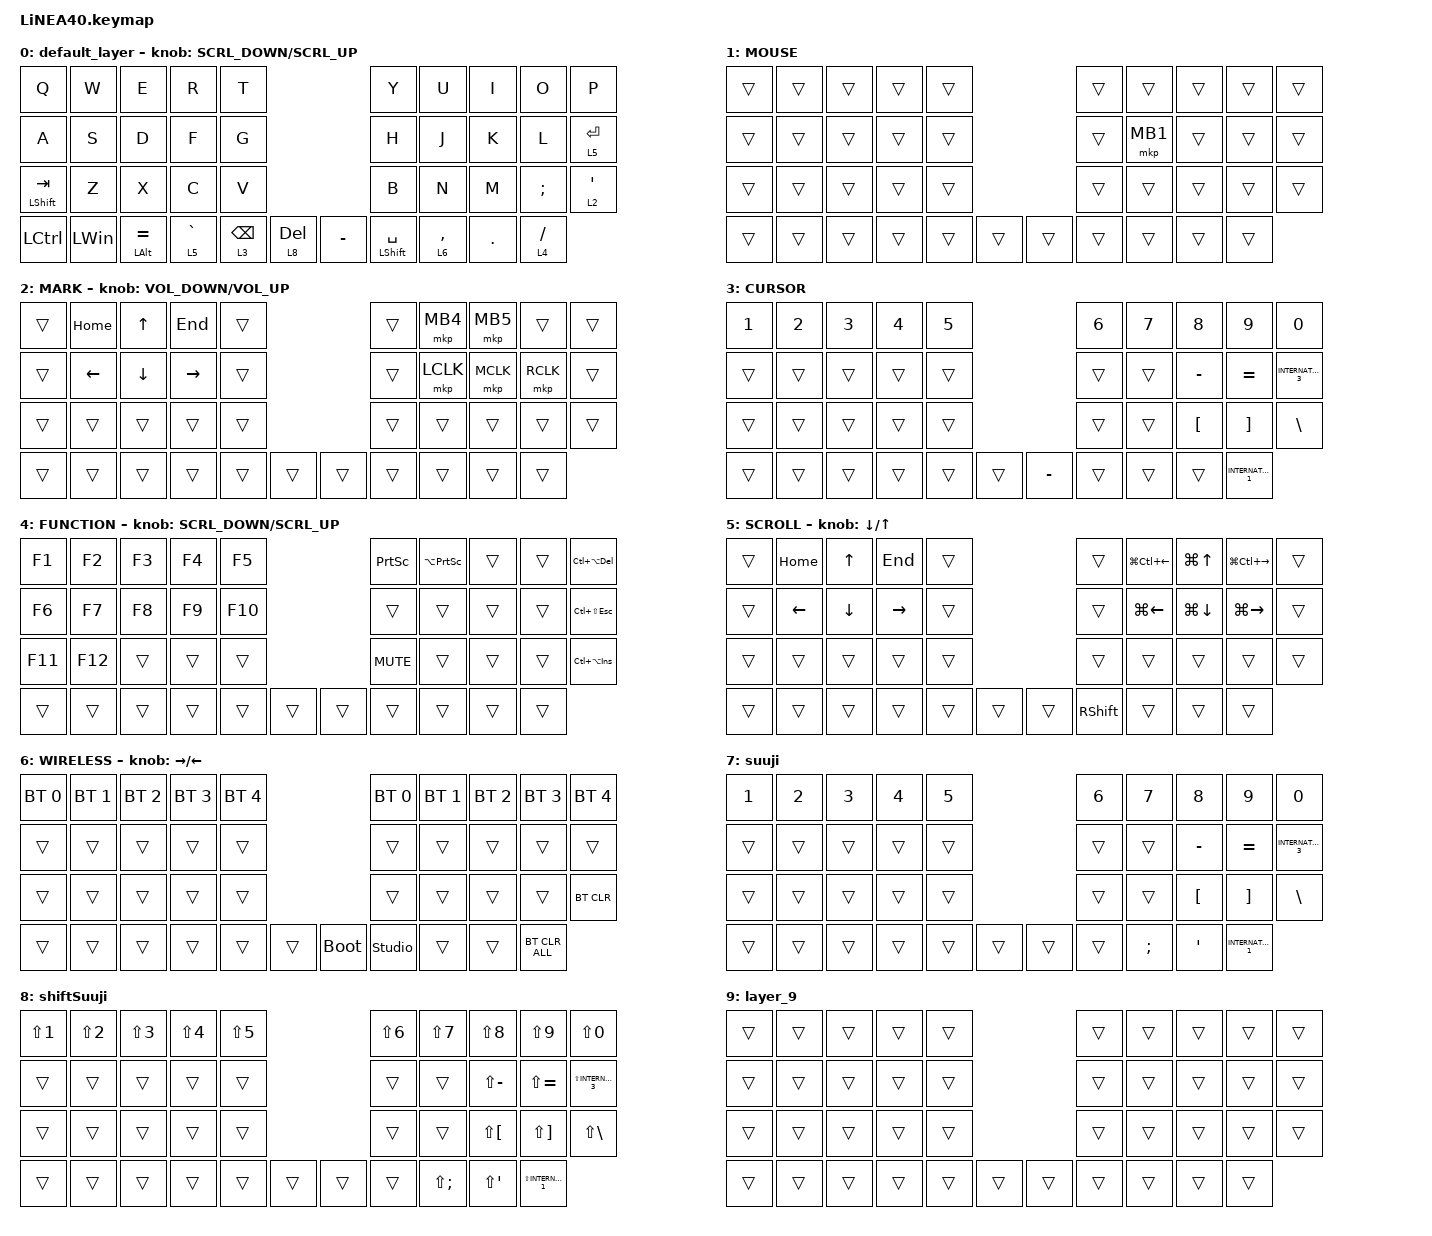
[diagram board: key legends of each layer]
#define ZMK_POINTING_DEFAULT_SCRL_VAL 150

#include <dt-bindings/zmk/input_transform.h>
#include <input/processors.dtsi>
#include <zephyr/dt-bindings/input/input-event-codes.h>
#include <behaviors.dtsi>
#include <dt-bindings/zmk/bt.h>
#include <dt-bindings/zmk/keys.h>
#include <dt-bindings/zmk/pointing.h>

#define MOUSE 1
#define MARK 2
#define CURSOR 3
#define FUNCTION 4
#define SCROLL 5
#define WIRELESS 6

//mouse cursol

&mmv {
    delay-ms = <20>;
    trigger-period-ms = <5>;
    time-to-max-speed-ms = <100>;
    acceleration-exponent = <2>;
};

//mouse scroll

&msc {
    delay-ms = <3>;
    trigger-period-ms = <3>;
    time-to-max-speed-ms = <100>;
    acceleration-exponent = <0>;
};

/ {
    input_processors {
        zip_wheel_scaler: zip_wheel_scaler {
            compatible = "zmk,input-processor-scaler";
            #input-processor-cells = <2>;
            type = <INPUT_EV_REL>;
            codes = <INPUT_REL_WHEEL>;
            track-remainders;
        };
    };
};

&msc_input_listener {
    speed_up {
        layers = <FUNCTION>;
        input-processors = <&zip_wheel_scaler 3 1>; //スクロールを3倍速にする
    };
};

&trackball_listener {
    input-processors = <&zip_xy_scaler 3 4>;

    fastcusror {
        layers = <4 8>;
        input-processors = <&zip_xy_scaler 3 1>;
    };

    scroller {
        layers = <SCROLL>;
        input-processors =
            <&zip_xy_transform INPUT_TRANSFORM_Y_INVERT>,
            //スクロール方向を逆転,,,,,,,,,
            <
            &zip_xy_to_scroll_mapper
            &zip_scroll_scaler 1 4
            >;
    };
};

/ {
    combos {
        compatible = "zmk,combos";

        ZenkakuHankaku {
            bindings = <&kp GRAVE>;
            key-positions = <11 10>;
        };

        DeleteKey {
            bindings = <&kp DEL>;
            key-positions = <8 9>;
        };

        esc {
            bindings = <&kp ESCAPE>;
            key-positions = <1 0>;
        };
    };

    behaviors {
        re_kp: sensor_rotate_kp {
            compatible = "zmk,behavior-sensor-rotate-var";
            #sensor-binding-cells = <2>;
            bindings = <&kp>, <&kp>;
        };

        mouse_scrl: mouse_wheel_scrl {
            compatible = "zmk,behavior-sensor-rotate-var";
            #sensor-binding-cells = <2>;
            bindings = <&msc>, <&msc>;

            tap-ms = <20>;
        };
    };

    keymap {
        compatible = "zmk,keymap";

        default_layer {
            bindings = <
&kp Q          &kp W         &kp E               &kp R        &kp T                                       &kp Y                 &kp U  &kp I        &kp O          &kp P
&kp A          &kp S         &kp D               &kp F        &kp G                                       &kp H                 &kp J  &kp K        &kp L          &lt 5 ENTER
&mt LSHFT TAB  &kp Z         &kp X               &kp C        &kp V                                       &kp B                 &kp N  &kp M        &kp SEMICOLON  &lt 2 SQT
&kp LCTRL      &kp LEFT_WIN  &mt LEFT_ALT EQUAL  &lt 5 GRAVE  &lt 3 BACKSPACE  &lt 8 DELETE    &kp MINUS  &mt LEFT_SHIFT SPACE         &lt 6 COMMA  &kp PERIOD     &lt 4 SLASH
            >;

            sensor-bindings = <&mouse_scrl SCRL_DOWN SCRL_UP>;
        };

        //1

        MOUSE {
            bindings = <
&trans  &trans  &trans  &trans  &trans                    &trans  &trans    &trans  &trans  &trans
&trans  &trans  &trans  &trans  &trans                    &trans  &mkp MB1  &trans  &trans  &trans
&trans  &trans  &trans  &trans  &trans                    &trans  &trans    &trans  &trans  &trans
&trans  &trans  &trans  &trans  &trans  &trans    &trans  &trans            &trans  &trans  &trans
            >;
        };

        //2

        MARK {
            bindings = <
&trans  &kp HOME  &kp UP    &kp END    &trans                    &trans  &mkp MB4   &mkp MB5   &trans     &trans
&trans  &kp LEFT  &kp DOWN  &kp RIGHT  &trans                    &trans  &mkp LCLK  &mkp MCLK  &mkp RCLK  &trans
&trans  &trans    &trans    &trans     &trans                    &trans  &trans     &trans     &trans     &trans
&trans  &trans    &trans    &trans     &trans  &trans    &trans  &trans             &trans     &trans     &trans
            >;

            sensor-bindings = <&re_kp C_VOLUME_DOWN C_VOLUME_UP>;
        };

        //3

        CURSOR {
            bindings = <
&kp N1  &kp N2  &kp N3  &kp N4  &kp N5                       &kp N6  &kp N7  &kp N8     &kp N9     &kp N0
&trans  &trans  &trans  &trans  &trans                       &trans  &trans  &kp MINUS  &kp EQUAL  &kp INTERNATIONAL_3
&trans  &trans  &trans  &trans  &trans                       &trans  &trans  &kp LBKT   &kp RBKT   &kp BSLH
&trans  &trans  &trans  &trans  &trans  &trans    &kp MINUS  &trans          &trans     &trans     &kp INTERNATIONAL_1
            >;
        };

        //4

        FUNCTION {
            bindings = <
&kp F1   &kp F2   &kp F3  &kp F4  &kp F5                     &kp PRINTSCREEN  &kp LA(PRINTSCREEN)  &trans  &trans  &kp LC(LA(DELETE))
&kp F6   &kp F7   &kp F8  &kp F9  &kp F10                    &trans           &trans               &trans  &trans  &kp LC(LS(ESCAPE))
&kp F11  &kp F12  &trans  &trans  &trans                     &kp C_MUTE       &trans               &trans  &trans  &kp LC(LA(INS))
&trans   &trans   &trans  &trans  &trans   &trans    &trans  &trans                                &trans  &trans  &trans
            >;

            sensor-bindings = <&mouse_scrl SCRL_DOWN SCRL_UP>;
        };

        //5

        SCROLL {
            bindings = <
&trans  &kp HOME        &kp UP_ARROW  &kp END          &trans                    &trans           &kp LG(LC(LEFT))  &kp LG(UP_ARROW)  &kp LG(LC(RIGHT))  &trans
&trans  &kp LEFT_ARROW  &kp DOWN      &kp RIGHT_ARROW  &trans                    &trans           &kp LG(LEFT)      &kp LG(DOWN)      &kp LG(RIGHT)      &trans
&trans  &trans          &trans        &trans           &trans                    &trans           &trans            &trans            &trans             &trans
&trans  &trans          &trans        &trans           &trans  &trans    &trans  &kp RIGHT_SHIFT                    &trans            &trans             &trans
            >;

            sensor-bindings = <&inc_dec_kp DOWN_ARROW UP_ARROW>;
        };

        //6

        WIRELESS {
            bindings = <
&bt BT_SEL 0  &bt BT_SEL 1  &bt BT_SEL 2  &bt BT_SEL 3  &bt BT_SEL 4                         &bt BT_SEL 0    &bt BT_SEL 1  &bt BT_SEL 2  &bt BT_SEL 3  &bt BT_SEL 4
&trans        &trans        &trans        &trans        &trans                               &trans          &trans        &trans        &trans        &trans
&trans        &trans        &trans        &trans        &trans                               &trans          &trans        &trans        &trans        &bt BT_CLR
&trans        &trans        &trans        &trans        &trans        &trans    &bootloader  &studio_unlock                &trans        &trans        &bt BT_CLR_ALL
            >;

            sensor-bindings = <&inc_dec_kp RIGHT_ARROW LEFT_ARROW>;
        };

        suuji {
            bindings = <
&kp N1  &kp N2  &kp N3  &kp N4  &kp N5                    &kp N6  &kp N7  &kp N8     &kp N9     &kp N0
&trans  &trans  &trans  &trans  &trans                    &trans  &trans  &kp MINUS  &kp EQUAL  &kp INTERNATIONAL_3
&trans  &trans  &trans  &trans  &trans                    &trans  &trans  &kp LBKT   &kp RBKT   &kp BSLH
&trans  &trans  &trans  &trans  &trans  &trans    &trans  &trans          &kp SEMI   &kp APOS   &kp INTERNATIONAL_1
            >;
        };

        shiftSuuji {
            bindings = <
&kp LS(N1)  &kp LS(N2)  &kp LS(N3)  &kp LS(N4)  &kp LS(N5)                    &kp LS(N6)  &kp LS(N7)  &kp LS(N8)     &kp LS(N9)     &kp LS(N0)
&trans      &trans      &trans      &trans      &trans                        &trans      &trans      &kp LS(MINUS)  &kp LS(EQUAL)  &kp LS(INTERNATIONAL_3)
&trans      &trans      &trans      &trans      &trans                        &trans      &trans      &kp LS(LBKT)   &kp LS(RBKT)   &kp LS(BSLH)
&trans      &trans      &trans      &trans      &trans      &trans    &trans  &trans                  &kp LS(SEMI)   &kp LS(APOS)   &kp LS(INTERNATIONAL_1)
            >;
        };

        layer_9 {
            bindings = <
&trans  &trans  &trans  &trans  &trans                    &trans  &trans  &trans  &trans  &trans
&trans  &trans  &trans  &trans  &trans                    &trans  &trans  &trans  &trans  &trans
&trans  &trans  &trans  &trans  &trans                    &trans  &trans  &trans  &trans  &trans
&trans  &trans  &trans  &trans  &trans  &trans    &trans  &trans          &trans  &trans  &trans
            >;
        };
    };
};
